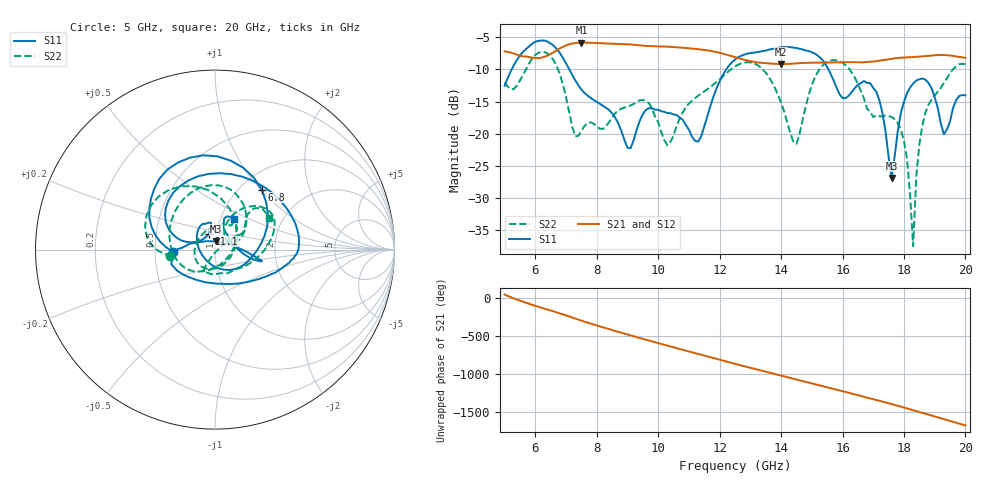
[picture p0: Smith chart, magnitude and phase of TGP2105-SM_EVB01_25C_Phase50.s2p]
! Date: Wednesday, June 05, 2013  1:52 PM
! Filename: C:\Data\Mike_Arnold\TGP2105-SM\Over_Temp\TGP2105-SM_EVB01_25C_Phase50.s2p
! Comments:
!^VDC(V):5.000
!^VDC(mA):0.037
!%Freq(GHz),S11(dB),S11(ang),S21(dB),S21(ang),S12(dB),S12(ang),S22(dB),S22(ang)
# GHz  S  DB  R  50
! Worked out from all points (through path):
!   151 points, 5 GHz to 20 GHz, reference 50 ohm
!   highest |S21| = -5.84 dB at 7.5 GHz (marker M1); lowest = -9.2 dB at 14 GHz (marker M2)
!   lowest |S11| = -26.8 dB at 17.6 GHz (marker M3), VSWR 1.10, Z = 50.3 + j4.56 ohm
!   |S11| at or under -10 dB: start of sweep to 5.23 GHz; 7.107 GHz to 12.21 GHz (5.107 GHz wide, 52.9 % of centre); 15.54 GHz to end of sweep
!   |S22| runs from -37.4 to -7.3 dB; largest |S21 - S12| = 0.0022
!   S11 on the Smith chart (normalised r, x): 5 GHz: 0.62, -0.02; 6.8 GHz: 1.25, +1.01; 11.1 GHz: 0.92, +0.17; 20 GHz: 1.16, +0.41
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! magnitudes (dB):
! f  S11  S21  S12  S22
! 5 GHz  -12.6  -7.2  -7.2  -12.0
! 6 GHz  -5.7  -8.2  -8.2  -7.7
! 6.8 GHz  -7.5  -6.7  -6.8  -10.8
! 7.5 GHz  -13.1  -5.8  -5.9  -19.5
! 9 GHz  -22.2  -6.1  -6.1  -15.8
! 10 GHz  -16.2  -6.4  -6.5  -18.2
! 10.3 GHz  -16.8  -6.5  -6.5  -21.8
! 11.1 GHz  -20.4  -6.8  -6.8  -14.9
! 12.5 GHz  -8.5  -8.1  -8.1  -9.6
! 14 GHz  -6.5  -9.2  -9.2  -15.1
! 14.5 GHz  -6.7  -9.1  -9.1  -21.6
! 15 GHz  -7.3  -9.0  -9.0  -12.4
! 15.9 GHz  -13.8  -8.9  -8.9  -8.7
! 16.9 GHz  -12.1  -8.8  -8.9  -16.5
! 17.5 GHz  -23.6  -8.4  -8.4  -17.2
! 17.6 GHz  -26.8  -8.3  -8.4  -17.4
! 18.1 GHz  -13.7  -8.1  -8.1  -23.9
! 18.3 GHz  -12.2  -8.1  -8.1  -37.4
! 18.4 GHz  -11.7  -8.0  -8.1  -26.7
! 18.7 GHz  -11.6  -7.9  -8.0  -16.7
! 19.3 GHz  -20.1  -7.8  -7.8  -12.1
! 20 GHz  -14.0  -8.2  -8.2  -9.2
